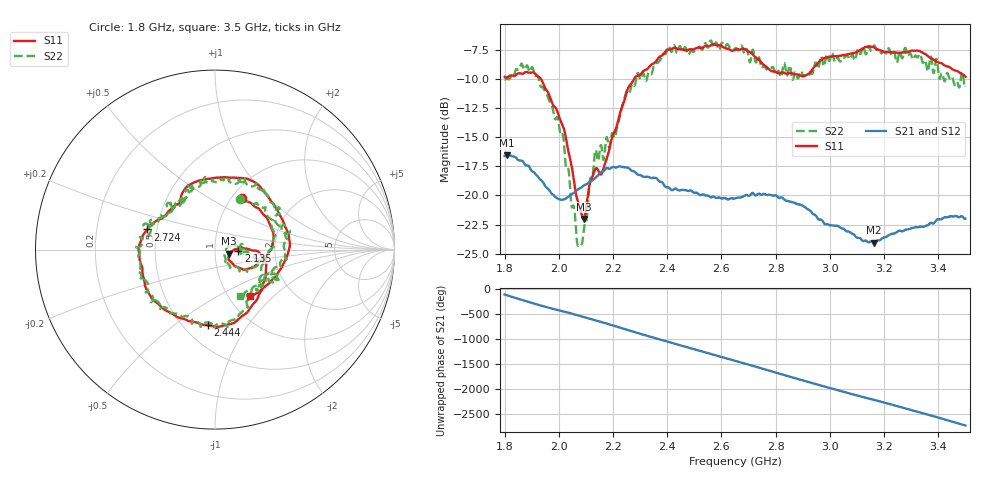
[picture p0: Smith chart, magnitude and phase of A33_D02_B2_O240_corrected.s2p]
! Created with skrf 1.9.0 (http://scikit-rf.org).
# Hz S RI R 50.0
!freq ReS11 ImS11 ReS21 ImS21 ReS12 ImS12 ReS22 ImS22
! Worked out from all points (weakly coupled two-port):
!   1601 points, 1.8 GHz to 3.5 GHz, reference 50 ohm
!   highest |S21| = -16.54 dB at 1.81 GHz (marker M1); lowest = -24.0 dB at 3.163 GHz (marker M2)
!   lowest |S11| = -22.0 dB at 2.091 GHz (marker M3), VSWR 1.17, Z = 58.2 - j2.6 ohm
!   |S11| at or under -10 dB: 1.934 GHz to 2.278 GHz (343.9 MHz wide, 16.3 % of centre)
!   |S22| runs from -24.3 to -6.7 dB; largest |S21 - S12| = 0.0025
!   S11 on the Smith chart (normalised r, x): 1.8 GHz: 1.12, +0.71; 2.135 GHz: 1.30, -0.01; 2.444 GHz: 0.65, -0.67; 2.724 GHz: 0.44, +0.12; 3.5 GHz: 1.25, -0.72
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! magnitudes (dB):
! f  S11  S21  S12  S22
! 1.8 GHz  -9.8  -16.6  -16.6  -10.1
! 1.81 GHz  -9.9  -16.5  -16.6  -10.0
! 1.9 GHz  -9.5  -17.9  -17.8  -9.0
! 1.954 GHz  -11.0  -19.3  -19.3  -11.3
! 2.013 GHz  -13.9  -20.4  -20.4  -14.7
! 2.07 GHz  -20.5  -19.5  -19.5  -24.3
! 2.084 GHz  -21.6  -19.3  -19.3  -24.2
! 2.091 GHz  -22.0  -19.2  -19.2  -23.1
! 2.135 GHz  -17.7  -18.5  -18.5  -16.1
! 2.163 GHz  -17.8  -17.9  -17.9  -16.9
! 2.21 GHz  -14.3  -17.6  -17.5  -14.8
! 2.26 GHz  -10.6  -17.7  -17.7  -11.2
! 2.367 GHz  -8.2  -18.7  -18.7  -8.6
! 2.444 GHz  -7.5  -19.6  -19.6  -7.3
! 2.65 GHz  -7.5  -20.2  -20.2  -7.4
! 2.724 GHz  -8.1  -20.0  -19.9  -8.4
! 2.808 GHz  -9.5  -20.1  -20.1  -9.3
! 2.934 GHz  -9.2  -21.5  -21.5  -9.6
! 3.163 GHz  -7.3  -24.0  -24.0  -7.1
! 3.217 GHz  -7.7  -23.4  -23.4  -7.4
! 3.33 GHz  -7.6  -22.7  -22.7  -7.9
! 3.5 GHz  -9.8  -22.0  -22.0  -10.6
